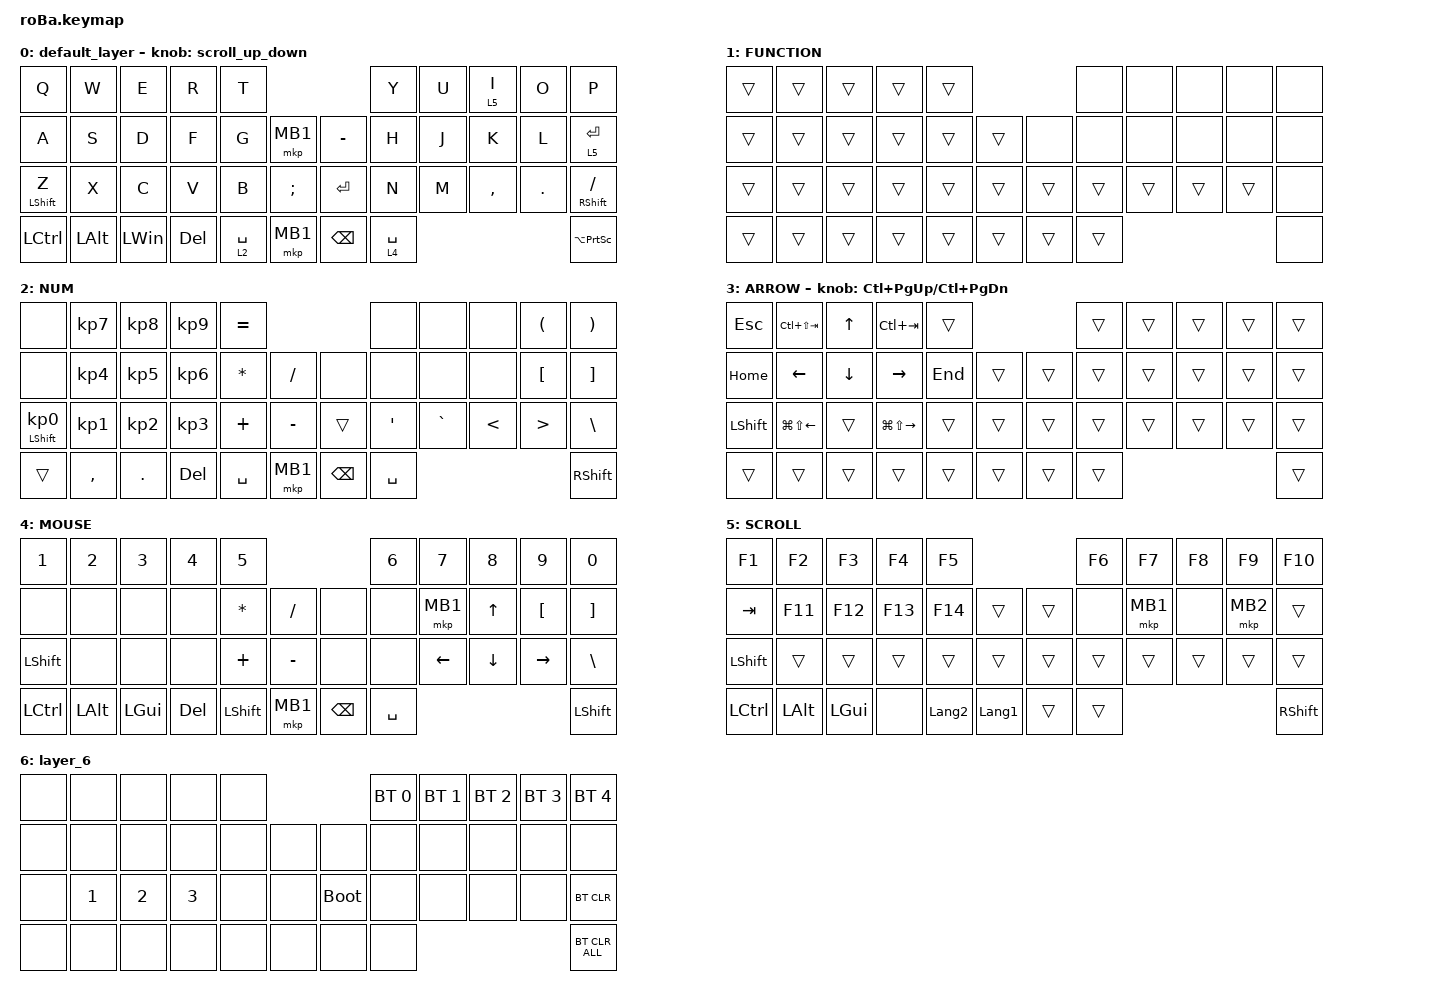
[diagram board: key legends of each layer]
#include <behaviors.dtsi>
#include <dt-bindings/zmk/bt.h>
#include <dt-bindings/zmk/keys.h>
#include <dt-bindings/zmk/pointing.h>

#define ZMK_POINTING_DEFAULT_SCRL_VAL 100
#define MOUSE 4
#define SCROLL 5
#define NUM 6

&mt {
    flavor = "tap-preferred";
    quick-tap-ms = <200>;
    tapping-term-ms = <200>;
};

/ {
    combos {
        compatible = "zmk,combos";

        eq {
            bindings = <&kp EQUAL>;
            key-positions = <2 0>;
        };

        printscreen {
            bindings = <&kp RA(PRINTSCREEN)>;
            key-positions = <9 11>;
        };

        esc {
            bindings = <&kp ESCAPE>;
            key-positions = <0 1>;
        };
    };

    macros {
        to_layer_0: to_layer_0 {
            compatible = "zmk,behavior-macro-one-param";
            #binding-cells = <1>;
            bindings = <&to 0 &macro_param_1to1 &kp MACRO_PLACEHOLDER>;
            label = "TO_LAYER_0";
        };
    };

    behaviors {
        lt_to_layer_0: lt_to_layer_0 {
            compatible = "zmk,behavior-hold-tap";
            label = "LAYER_TAP_TO_0";
            bindings = <&mo>, <&to_layer_0>;

            #binding-cells = <2>;
            tapping-term-ms = <200>;
        };

        scroll_up_down: behavior_sensor_rotate_mouse_wheel_up_down {
            compatible = "zmk,behavior-sensor-rotate";
            #sensor-binding-cells = <0>;
            bindings = <&msc SCRL_DOWN>, <&msc SCRL_UP>;

            tap-ms = <20>;
        };
    };

    keymap {
        compatible = "zmk,keymap";

        default_layer {
            bindings = <
&kp Q             &kp W         &kp E         &kp R    &kp T                                          &kp Y        &kp U  &lt 5 I    &kp O    &kp P
&kp A             &kp S         &kp D         &kp F    &kp G        &mkp MB1           &kp MINUS      &kp H        &kp J  &kp K      &kp L    &lt 5 RET
&mt LEFT_SHIFT Z  &kp X         &kp C         &kp V    &kp B        &kp SEMICOLON      &kp RET        &kp N        &kp M  &kp COMMA  &kp DOT  &mt RIGHT_SHIFT SLASH
&kp LCTRL         &kp LEFT_ALT  &kp LEFT_WIN  &kp DEL  &lt 2 SPACE  &mkp MB1           &kp BACKSPACE  &lt 4 SPACE                             &kp LA(PSCRN)
            >;

            sensor-bindings = <&scroll_up_down>;
        };

        FUNCTION {
            bindings = <
&trans  &trans  &trans  &trans  &trans                      &none   &none   &none   &none   &none
&trans  &trans  &trans  &trans  &trans  &trans      &none   &none   &none   &none   &none   &none
&trans  &trans  &trans  &trans  &trans  &trans      &trans  &trans  &trans  &trans  &trans  &none
&trans  &trans  &trans  &trans  &trans  &trans      &trans  &trans                          &none
            >;
        };

        NUM {
            bindings = <
&none                       &kp KP_NUMBER_7  &kp KP_NUMBER_8  &kp KP_NUMBER_9  &kp EQUAL                                   &none      &none      &none          &kp LEFT_PARENTHESIS  &kp RIGHT_PARENTHESIS
&none                       &kp KP_NUMBER_4  &kp KP_NUMBER_5  &kp KP_NUMBER_6  &kp ASTERISK  &kp SLASH      &none          &none      &none      &none          &kp LEFT_BRACKET      &kp RIGHT_BRACKET
&mt LEFT_SHIFT KP_NUMBER_0  &kp KP_NUMBER_1  &kp KP_NUMBER_2  &kp KP_NUMBER_3  &kp PLUS      &kp MINUS      &trans         &kp SQT    &kp GRAVE  &kp LESS_THAN  &kp GREATER_THAN      &kp BACKSLASH
&trans                      &kp COMMA        &kp PERIOD       &kp DEL          &kp SPACE     &mkp MB1       &kp BACKSPACE  &kp SPACE                                                  &kp RIGHT_SHIFT
            >;
        };

        ARROW {
            bindings = <
&kp ESCAPE      &kp LC(LS(TAB))         &kp UP_ARROW    &kp LC(TAB)              &trans                       &trans  &trans  &trans  &trans  &trans
&kp HOME        &kp LEFT_ARROW          &kp DOWN_ARROW  &kp RIGHT_ARROW          &kp END  &trans      &trans  &trans  &trans  &trans  &trans  &trans
&kp LEFT_SHIFT  &kp LG(LS(LEFT_ARROW))  &trans          &kp LG(LS(RIGHT_ARROW))  &trans   &trans      &trans  &trans  &trans  &trans  &trans  &trans
&trans          &trans                  &trans          &trans                   &trans   &trans      &trans  &trans                          &trans
            >;

            sensor-bindings = <&inc_dec_kp LC(PAGE_UP) LC(PAGE_DOWN)>;
        };

        MOUSE {
            bindings = <
&kp NUMBER_1    &kp NUMBER_2  &kp NUMBER_3  &kp NUMBER_4  &kp N5                                        &kp NUMBER_6  &kp N7          &kp N8          &kp N9            &kp N0
&none           &none         &none         &none         &kp ASTERISK    &kp SLASH      &none          &none         &mkp MB1        &kp UP_ARROW    &kp LEFT_BRACKET  &kp RIGHT_BRACKET
&kp LEFT_SHIFT  &none         &none         &none         &kp PLUS        &kp MINUS      &none          &none         &kp LEFT_ARROW  &kp DOWN_ARROW  &kp RIGHT_ARROW   &kp BACKSLASH
&kp LCTRL       &kp LEFT_ALT  &kp LEFT_GUI  &kp DEL       &kp LEFT_SHIFT  &mkp MB1       &kp BACKSPACE  &kp SPACE                                                       &kp LEFT_SHIFT
            >;
        };

        SCROLL {
            bindings = <
&kp F1          &kp F2        &kp F3        &kp F4   &kp F5                                      &kp F6  &kp F7    &kp F8  &kp F9    &kp F10
&kp TAB         &kp F11       &kp F12       &kp F13  &kp F14         &trans              &trans  &none   &mkp MB1  &none   &mkp MB2  &trans
&kp LEFT_SHIFT  &trans        &trans        &trans   &trans          &trans              &trans  &trans  &trans    &trans  &trans    &trans
&kp LCTRL       &kp LEFT_ALT  &kp LEFT_GUI  &none    &kp LANGUAGE_2  &kp LANGUAGE_1      &trans  &trans                              &kp RIGHT_SHIFT
            >;
        };

        layer_6 {
            bindings = <
&none  &none         &none         &none         &none                          &bt BT_SEL 0  &bt BT_SEL 1  &bt BT_SEL 2  &bt BT_SEL 3  &bt BT_SEL 4
&none  &none         &none         &none         &none  &none      &none        &none         &none         &none         &none         &none
&none  &kp NUMBER_1  &kp NUMBER_2  &kp NUMBER_3  &none  &none      &bootloader  &none         &none         &none         &none         &bt BT_CLR
&none  &none         &none         &none         &none  &none      &none        &none                                                   &bt BT_CLR_ALL
            >;
        };
    };
};
